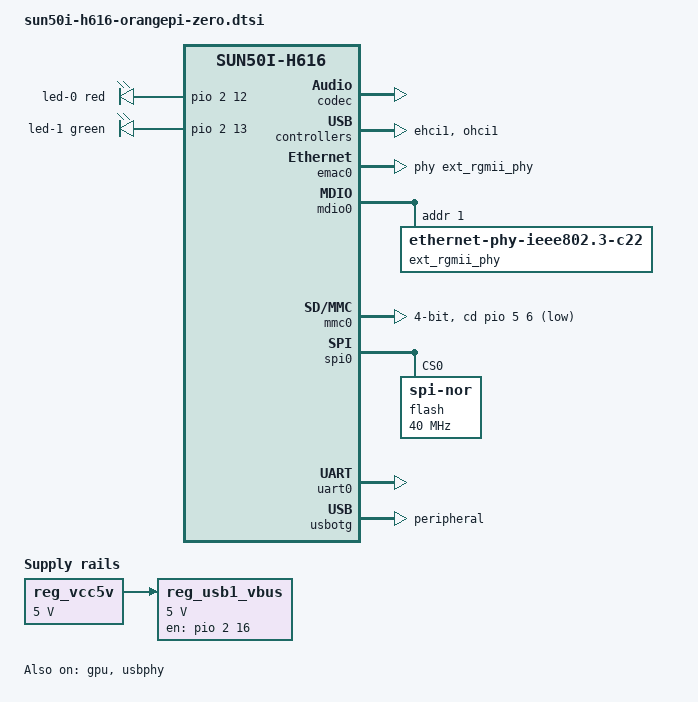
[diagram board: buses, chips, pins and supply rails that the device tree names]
// SPDX-License-Identifier: (GPL-2.0+ OR MIT)
/*
 * Copyright (C) 2020 Arm Ltd.
 *
 * DT nodes common between Orange Pi Zero 2 and Orange Pi Zero 3.
 * Excludes PMIC nodes and properties, since they are different between the two.
 */

#include "sun50i-h616.dtsi"

#include <dt-bindings/gpio/gpio.h>
#include <dt-bindings/interrupt-controller/arm-gic.h>
#include <dt-bindings/leds/common.h>

/ {
	aliases {
		ethernet0 = &emac0;
		serial0 = &uart0;
	};

	chosen {
		stdout-path = "serial0:115200n8";
	};

	leds {
		compatible = "gpio-leds";

		led-0 {
			function = LED_FUNCTION_POWER;
			color = <LED_COLOR_ID_RED>;
			gpios = <&pio 2 12 GPIO_ACTIVE_HIGH>; /* PC12 */
			default-state = "on";
		};

		led-1 {
			function = LED_FUNCTION_STATUS;
			color = <LED_COLOR_ID_GREEN>;
			gpios = <&pio 2 13 GPIO_ACTIVE_HIGH>; /* PC13 */
		};
	};

	reg_vcc5v: vcc5v {
		/* board wide 5V supply directly from the USB-C socket */
		compatible = "regulator-fixed";
		regulator-name = "vcc-5v";
		regulator-min-microvolt = <5000000>;
		regulator-max-microvolt = <5000000>;
		regulator-always-on;
	};

	reg_usb1_vbus: regulator-usb1-vbus {
		compatible = "regulator-fixed";
		regulator-name = "usb1-vbus";
		regulator-min-microvolt = <5000000>;
		regulator-max-microvolt = <5000000>;
		vin-supply = <&reg_vcc5v>;
		enable-active-high;
		gpio = <&pio 2 16 GPIO_ACTIVE_HIGH>; /* PC16 */
	};
};

&codec {
	allwinner,audio-routing = "Line Out", "LINEOUT";
	status = "okay";
};

&ehci1 {
	status = "okay";
};

/* USB 2 & 3 are on headers only. */

&emac0 {
	pinctrl-names = "default";
	pinctrl-0 = <&ext_rgmii_pins>;
	phy-handle = <&ext_rgmii_phy>;
	status = "okay";
};

&gpu {
	status = "okay";
};

&mdio0 {
	ext_rgmii_phy: ethernet-phy@1 {
		compatible = "ethernet-phy-ieee802.3-c22";
		reg = <1>;
	};
};

&mmc0 {
	cd-gpios = <&pio 5 6 GPIO_ACTIVE_LOW>;	/* PF6 */
	disable-wp;
	bus-width = <4>;
	status = "okay";
};

&ohci1 {
	status = "okay";
};

&spi0  {
	status = "okay";
	pinctrl-names = "default";
	pinctrl-0 = <&spi0_pins>, <&spi0_cs0_pin>;

	flash@0 {
		#address-cells = <1>;
		#size-cells = <1>;
		compatible = "jedec,spi-nor";
		reg = <0>;
		spi-max-frequency = <40000000>;
	};
};

&uart0 {
	pinctrl-names = "default";
	pinctrl-0 = <&uart0_ph_pins>;
	status = "okay";
};

&usbotg {
	/*
	 * PHY0 pins are connected to a USB-C socket, but a role switch
	 * is not implemented: both CC pins are pulled to GND.
	 * The VBUS pins power the device, so a fixed peripheral mode
	 * is the best choice.
	 * The board can be powered via GPIOs, in this case port0 *can*
	 * act as a host (with a cable/adapter ignoring CC), as VBUS is
	 * then provided by the GPIOs. Any user of this setup would
	 * need to adjust the DT accordingly: dr_mode set to "host",
	 * enabling OHCI0 and EHCI0.
	 */
	dr_mode = "peripheral";
	status = "okay";
};

&usbphy {
	usb1_vbus-supply = <&reg_usb1_vbus>;
	status = "okay";
};
